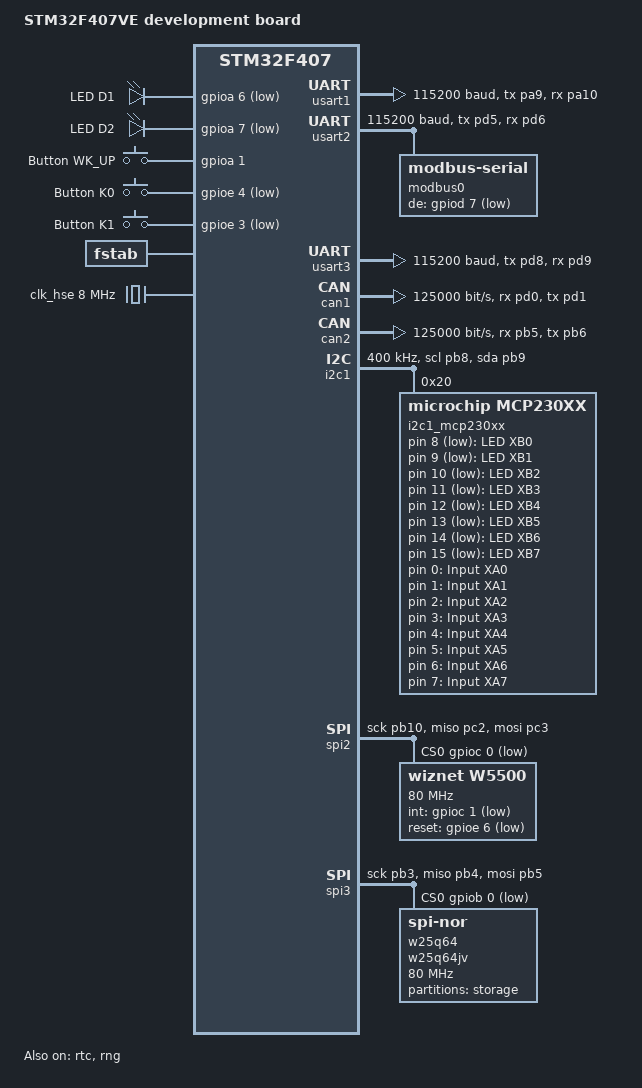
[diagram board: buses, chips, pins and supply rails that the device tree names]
/*
 * Copyright (c) 2017 Linaro Limited
 *
 * SPDX-License-Identifier: Apache-2.0
 */

/dts-v1/;
#include <st/f4/stm32f407Xe.dtsi>
#include <st/f4/stm32f407v(e-g)tx-pinctrl.dtsi>
#include <zephyr/dt-bindings/input/input-event-codes.h>

/ {
	model = "STM32F407VE development board"; 
	compatible = "st,stm32f407";

	chosen {
		zephyr,console = &usart1;
		zephyr,shell-uart = &usart1;
		zephyr,sram = &sram0;
		zephyr,flash = &flash0;
		zephyr,ccm = &ccm0;
		zephyr,canbus = &can1;		
	};

	leds {
		compatible = "gpio-leds";
		green_led_1: led_1 {
			gpios = <&gpioa 6 GPIO_ACTIVE_LOW>;
			label = "LED D1";
		};
		green_led_2: led_2 {
			gpios = <&gpioa 7 GPIO_ACTIVE_LOW>;
			label = "LED D2";
		};
	};
	
	outputs {
		compatible = "gpio-leds";

		out0: out_b0 {
			gpios = <&i2c1_mcp230xx 8 GPIO_ACTIVE_LOW>;
			label = "LED XB0";
		};
		
		out1: out_b1 {
			gpios = <&i2c1_mcp230xx 9 GPIO_ACTIVE_LOW>;
			label = "LED XB1";
		};
		out2: out_b2 {
			gpios = <&i2c1_mcp230xx 10 GPIO_ACTIVE_LOW>;
			label = "LED XB2";
		};
		out3: out_b3 {
			gpios = <&i2c1_mcp230xx 11 GPIO_ACTIVE_LOW>;
			label = "LED XB3";
		};
		out4: out_b4 {
			gpios = <&i2c1_mcp230xx 12 GPIO_ACTIVE_LOW>;
			label = "LED XB4";
		};
		out5: out_b5 {
			gpios = <&i2c1_mcp230xx 13 GPIO_ACTIVE_LOW>;
			label = "LED XB5";
		};
		out6: out_b6 {
			gpios = <&i2c1_mcp230xx 14 GPIO_ACTIVE_LOW>;
			label = "LED XB6";
		};
		out7: out_b7 {
			gpios = <&i2c1_mcp230xx 15 GPIO_ACTIVE_LOW>;
			label = "LED XB7";
		};
	};

	inputs {
		compatible = "gpio-keys";
		in0: in_a0 {
			gpios = <&i2c1_mcp230xx 0 GPIO_ACTIVE_HIGH>;
			zephyr,code = <INPUT_KEY_0>;
			label = "Input XA0";
		};
		in1: in_a1 {
			gpios = <&i2c1_mcp230xx 1 GPIO_ACTIVE_HIGH>;
			label = "Input XA1";
		};
		in2: in_a2 {
			gpios = <&i2c1_mcp230xx 2 GPIO_ACTIVE_HIGH>;
			label = "Input XA2";
		};
		in3: in_a3 {
			gpios = <&i2c1_mcp230xx 3 GPIO_ACTIVE_HIGH>;
			label = "Input XA3";
		};
		in4: in_a4 {
			gpios = <&i2c1_mcp230xx 4 GPIO_ACTIVE_HIGH>;
			label = "Input XA4";
		};
		in5: in_a5 {
			gpios = <&i2c1_mcp230xx 5 GPIO_ACTIVE_HIGH>;
			label = "Input XA5";
		};
		in6: in_a6 {
			gpios = <&i2c1_mcp230xx 6 GPIO_ACTIVE_HIGH>;
			label = "Input XA6";
		};
		in7: in_a7 {
			gpios = <&i2c1_mcp230xx 7 GPIO_ACTIVE_HIGH>;
			label = "Input XA7";
		};
	};

	gpio_keys {
		compatible = "gpio-keys";
		user_button_1: button_1 {
			label = "Button WK_UP";
			gpios = <&gpioa 1 (GPIO_PULL_DOWN | GPIO_ACTIVE_HIGH)>;
			zephyr,code = <INPUT_KEY_0>;
		};
		user_button_2: button_2 {
			label = "Button K0";
			gpios = <&gpioe 4 (GPIO_PULL_UP | GPIO_ACTIVE_LOW)>;
			zephyr,code = <INPUT_KEY_1>;
		};
		user_button_3: button_3 {
			label = "Button K1";
			gpios = <&gpioe 3 (GPIO_PULL_UP | GPIO_ACTIVE_LOW)>;
			zephyr,code = <INPUT_KEY_2>;
		};
	};

	fstab {
		compatible = "zephyr,fstab";
		lfs1: lfs1 {
			compatible = "zephyr,fstab,littlefs";
			mount-point = "/lfs:";
			partition = <&storage_partition>;
			automount;
			read-size = <256>;
			prog-size = <256>;
			cache-size = <256>;
			lookahead-size = <256>;
			block-cycles = <512>;
		};
	};

	aliases {
		usart-console = &usart1;
		usart-modbus  = &usart2;
		usart-tdebug  = &usart3;
		led0 = &green_led_1;
		led1 = &green_led_2;
		sw0 = &user_button_1;
		sw1 = &user_button_2;
		sw2 = &user_button_3;
		spi-flash0 = &w25q64;
		out0 = &out0;
		out1 = &out1;
		out2 = &out2;
		out3 = &out4;
	};
};

&usart1 {	// USART1 is connected to MAX232 
	pinctrl-0 = <&usart1_tx_pa9 &usart1_rx_pa10>;
	pinctrl-names = "default";
	current-speed = <115200>;
	status = "okay";
};

&usart2 {	// USART2 is connected to RS485 DE is on PD7
	pinctrl-0 = <&usart2_tx_pd5 &usart2_rx_pd6>;
	pinctrl-names = "default";
	current-speed = <115200>;
	status = "okay";
	modbus0 {
		compatible = "zephyr,modbus-serial";
		status = "okay";
		de-gpios =<&gpiod 7 GPIO_ACTIVE_LOW>;
	};
};

&usart3 {	// USART3 is connected to PinHeader5 TX 14 RX 11
	pinctrl-0 = <&usart3_tx_pd8 &usart3_rx_pd9>;
	pinctrl-names = "default";
	current-speed = <115200>;
	status = "okay";
};

&can1 {
	pinctrl-0 = <&can1_rx_pd0 &can1_tx_pd1>;
	pinctrl-names = "default";
	bus-speed = <125000>;
	status = "okay";
};

&can2 {
	pinctrl-0 = <&can2_rx_pb5 &can2_tx_pb6>;
	pinctrl-names = "default";
	bus-speed = <125000>;
	status = "okay";
};

&i2c1 {
	pinctrl-0 = < &i2c1_scl_pb8 &i2c1_sda_pb9 >;
	status = "okay";
	pinctrl-names = "default";
	clock-frequency = <I2C_BITRATE_FAST>;
	i2c1_mcp230xx: mcp230xx@20 {
		compatible = "microchip,mcp230xx";
		reg = <0x20>;
		gpio-controller;
		#gpio-cells = <2>;
		ngpios = <16>;
	};
};

// W5500 Ethernet
&spi2 {
	pinctrl-0 = <&spi2_sck_pb10 &spi2_miso_pc2 &spi2_mosi_pc3>;
	pinctrl-names = "default";
	status = "okay";

	cs-gpios = <&gpioc 0 GPIO_ACTIVE_LOW>;
	w5500: w5500@0 {
        compatible = "wiznet,w5500";
		local-mac-address = [00 00 12 13 00 10];
        reg = <0x0>;
        spi-max-frequency = <80000000>;
        int-gpios = <&gpioc 1 GPIO_ACTIVE_LOW>;
		reset-gpios = <&gpioe 6 GPIO_ACTIVE_LOW>;
    };
};

// W25Q16 Flash 2MB
&spi3 {
	pinctrl-0 = <&spi3_sck_pb3 &spi3_miso_pb4 &spi3_mosi_pb5>;
	pinctrl-names = "default";
	status = "okay";

	cs-gpios = <&gpiob 0 GPIO_ACTIVE_LOW>;
	w25q64: w25q64jv@0 {
		compatible = "jedec,spi-nor";
		reg = <0>;
		spi-max-frequency = <80000000>;
		jedec-id = [ef 40 17];
		size = <0x4000000>;
		has-dpd;
		t-enter-dpd = <3500>;
		t-exit-dpd = <3500>;
	};
};

&w25q64 {
    partitions {
        compatible = "fixed-partitions";
        #address-cells = <1>;
        #size-cells = <1>;

		/* 8 MB partition */
		storage_partition: partition@0 {
			label = "storage";
			reg = <0x00000000 DT_SIZE_M(8)>;
		}; 
    };
};

&clk_lse {
	status = "okay";
};

&clk_lsi {
	status = "okay";
};

&clk_hse {
	clock-frequency = <DT_FREQ_M(8)>;
	status = "okay";
};

&pll {
	div-m = <4>;
	mul-n = <168>;
	div-p = <2>;
	div-q = <7>;
	clocks = <&clk_hse>;
	status = "okay";
};

&rcc {
	clocks = <&pll>;
	clock-frequency = <DT_FREQ_M(168)>;
	ahb-prescaler = <1>;
	apb1-prescaler = <4>;
	apb2-prescaler = <2>;
};

&rtc {
	clocks = <&rcc STM32_CLOCK_BUS_APB1 0x10000000>,
		 //<&rcc STM32_SRC_LSI RTC_SEL(2)>;
		 <&rcc STM32_SRC_LSE RTC_SEL(1)>;
	status = "okay";

	backup_regs {
		status = "okay";
	};
};

&rng {
	status = "okay";
};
